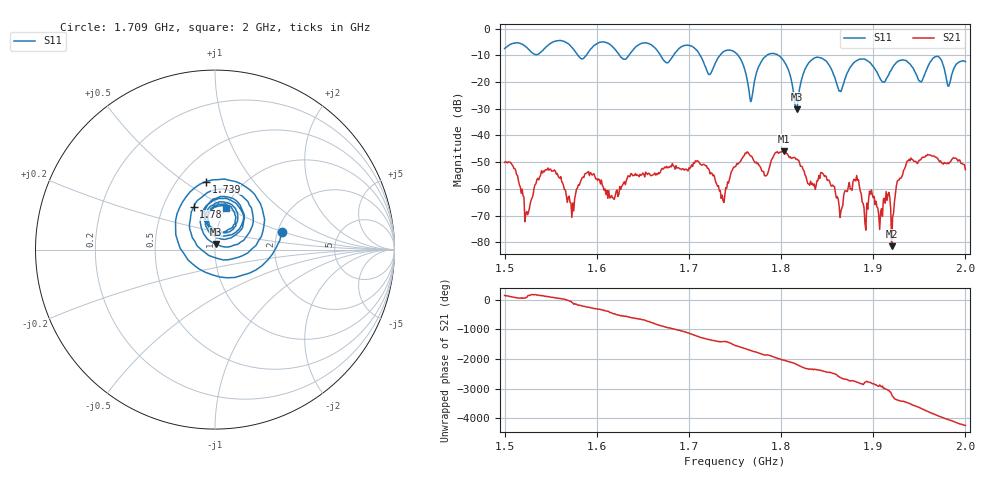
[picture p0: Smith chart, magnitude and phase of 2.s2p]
! NanoVNA-App by SYSJOINT et al v1.1.209 (+OD18)
! Date: 2026-01-21 14:27:17
! Start: 1,5GHz Stop: 2GHz Points: 501
! S-Parameter data: F S11 S21 S12 S22
# Hz S RI R 50
!  Frequency  S11_Real  S11_Imag  S21_Real  S21_Imag  S12_Real  S12_Imag  S22_Real  S22_Imag
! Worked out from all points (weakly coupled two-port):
!   501 points, 1.5 GHz to 2 GHz, reference 50 ohm
!   highest |S21| = -45.93 dB at 1.803 GHz (marker M1); lowest = -81.4 dB at 1.92 GHz (marker M2)
!   lowest |S11| = -30.1 dB at 1.817 GHz (marker M3), VSWR 1.06, Z = 50.3 + j3.11 ohm
!   |S11| at or under -10 dB: 1.712 GHz to 1.734 GHz (21.51 MHz wide, 1.25 % of centre); 1.753 GHz to 1.785 GHz (31.17 MHz wide, 1.76 % of centre); 1.797 GHz to end of sweep (the widest 3 of 6)
!   S12 and S22 are empty: the file has one direction only
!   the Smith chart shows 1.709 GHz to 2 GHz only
!   S11 on the Smith chart (normalised r, x): 1.709 GHz: 2.11, +0.47; 1.739 GHz: 0.68, +0.61; 1.78 GHz: 0.71, +0.36; 2 GHz: 1.01, +0.50
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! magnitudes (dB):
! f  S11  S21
! 1.5 GHz  -7.4  -50.1
! 1.524 GHz  -7.1  -68.5
! 1.542 GHz  -8.0  -53.3
! 1.573 GHz  -7.0  -70.7
! 1.584 GHz  -11.4  -55.9
! 1.667 GHz  -8.9  -53.9
! 1.709 GHz  -8.3  -49.5
! 1.722 GHz  -17.2  -52.9
! 1.739 GHz  -8.4  -62.3
! 1.75 GHz  -8.9  -51.7
! 1.767 GHz  -27.4  -47.8
! 1.78 GHz  -11.6  -53.4
! 1.803 GHz  -12.1  -45.9
! 1.817 GHz  -30.1  -48.8
! 1.834 GHz  -11.6  -57.8
! 1.864 GHz  -23.4  -70.7
! 1.881 GHz  -12.2  -57.0
! 1.892 GHz  -11.7  -75.4
! 1.917 GHz  -17.2  -61.3
! 1.92 GHz  -15.2  -81.4
! 1.939 GHz  -13.0  -48.9
! 2 GHz  -12.4  -52.8
